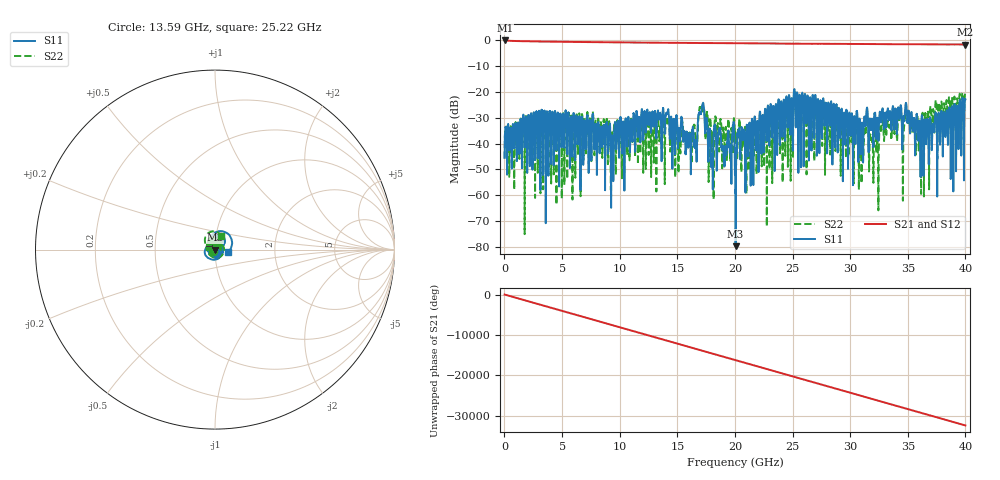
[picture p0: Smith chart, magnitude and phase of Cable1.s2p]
!UUTPORTS:-2,1 CABLE SERIAL NUMBER 09-11-604
! 11/2/2010 1:55:36 PM
! RESWITHCABLESETTEST.S2P
! CHANNEL.1
! TR.MEASUREMENT
! CORRECTED.DATA
# GHZ S RI R 50.0
! FREQ.GHZ  S11RE  S11M  S21RE  S21M  S12RE  S12M  S22RE  S22M
!; PortSelection: Port_12
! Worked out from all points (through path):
!   7999 points, 10 MHz to 40 GHz, reference 50 ohm
!   highest |S21| = 0.00 dB at 35 MHz (marker M1); lowest = -1.6 dB at 39.99 GHz (marker M2)
!   group delay of S21, straight-line fit = 2.25 ns
!   lowest |S11| = -79.9 dB at 20.06 GHz (marker M3), VSWR 1.00, Z = 50 - j0.00613 ohm
!   |S11| at or under -10 dB: start of sweep to end of sweep
!   |S22| runs from -75.2 to -19.8 dB; largest |S21 - S12| = 0.0082
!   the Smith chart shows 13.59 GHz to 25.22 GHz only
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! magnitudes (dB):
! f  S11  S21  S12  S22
! 10 MHz  -45.6  0.0  0.0  -45.8
! 35 MHz  -36.5  0.0  0.0  -37.1
! 2.885 GHz  -45.8  -0.4  -0.4  -51.3
! 6.675 GHz  -30.6  -0.6  -0.6  -30.8
! 9.365 GHz  -38.0  -0.7  -0.7  -38.9
! 13.34 GHz  -28.1  -0.9  -0.9  -30.3
! 16.57 GHz  -39.2  -1.0  -1.0  -37.7
! 17.15 GHz  -25.3  -1.0  -1.0  -27.4
! 17.91 GHz  -43.5  -1.0  -1.0  -33.3
! 20 GHz  -49.5  -1.1  -1.1  -35.4
! 20.06 GHz  -79.9  -1.1  -1.1  -36.9
! 21.11 GHz  -38.9  -1.1  -1.1  -37.4
! 25.27 GHz  -33.8  -1.2  -1.2  -27.4
! 26.67 GHz  -27.9  -1.3  -1.3  -35.1
! 30.53 GHz  -29.2  -1.4  -1.4  -35.4
! 30.93 GHz  -41.5  -1.4  -1.4  -39.6
! 31.39 GHz  -28.3  -1.4  -1.4  -32.9
! 32.37 GHz  -30.0  -1.4  -1.4  -38.6
! 33.34 GHz  -29.8  -1.4  -1.4  -32.5
! 36.23 GHz  -29.0  -1.5  -1.5  -30.6
! 39.99 GHz  -22.7  -1.6  -1.6  -20.7
! 40 GHz  -22.9  -1.6  -1.6  -21.0
